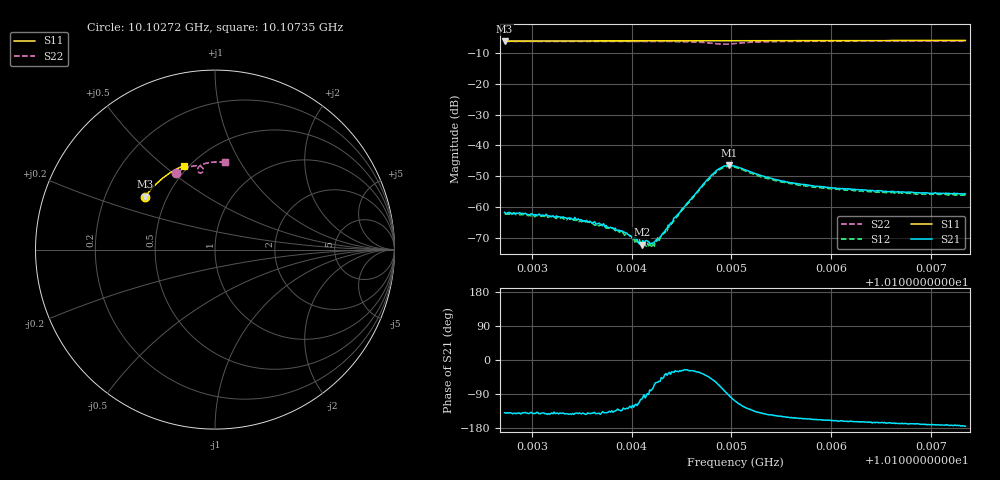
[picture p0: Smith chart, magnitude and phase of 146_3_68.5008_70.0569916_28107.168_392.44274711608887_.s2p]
#  HZ  S  RI  R  50.00
! Rohde & Schwarz Vector Network Analyzer
! Rohde-Schwarz,ZNB20-2Port,1311601062101988,3.16
! Created: UTC 3/20/2024, 5:10:14 PM
! freq[Hz]  re:S11  im:S11  re:S21  im:S21  re:S12  im:S12  re:S22  im:S22
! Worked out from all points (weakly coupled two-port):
!   401 points, 10.10272 GHz to 10.10735 GHz, reference 50 ohm
!   highest |S21| = -46.48 dB at 10.10498 GHz (marker M1); lowest = -72.1 dB at 10.1041 GHz (marker M2)
!   lowest |S11| = -6.2 dB at 10.10272 GHz (marker M3), VSWR 2.90, Z = 19 + j14.7 ohm
!   |S11| at or under -10 dB: nowhere
!   |S22| runs from -7.2 to -6.2 dB; largest |S21 - S12| = 0.00049
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1.0102725e10  -0.3875 0.2951  -0.000623 -0.000541  -0.000542 -0.000572  -0.216 0.4281
1.0103198e10  -0.3706 0.3183  -0.000533 -0.000455  -0.000501 -0.000486  -0.1879 0.4424
1.0103499e10  -0.359 0.3326  -0.000488 -0.000386  -0.000432 -0.000386  -0.1695 0.4504
1.0103695e10  -0.3512 0.3416  -0.000408 -0.000337  -0.000364 -0.000358  -0.1565 0.4554
1.0103753e10  -0.3488 0.3443  -0.000359 -0.000315  -0.000304 -0.000341  -0.1528 0.4569
1.0103903e10  -0.3427 0.3508  -0.000279 -0.000305  -0.000221 -0.000306  -0.1426 0.4602
1.0103996e10  -0.3389 0.3549  -0.000201 -0.000273  -0.000152 -0.000298  -0.1362 0.462
1.0104077e10  -0.3355 0.3584  -9.04e-05 -0.000235  -9.39e-05 -0.000286  -0.1304 0.4636
1.01041e10  -0.3344 0.3596  -5.98e-05 -0.000242  -5.9e-05 -0.000252  -0.1287 0.4642
1.0104134e10  -0.3329 0.361  -4.95e-05 -0.000278  -1.99e-05 -0.000243  -0.126 0.4646
1.0104204e10  -0.3301 0.3639  5.76e-05 -0.000255  8.42e-05 -0.000219  -0.1207 0.4659
1.0104273e10  -0.327 0.3669  0.000167 -0.000248  0.000179 -0.000221  -0.1151 0.4668
1.0104447e10  -0.3194 0.3741  0.000625 -0.000359  0.000607 -0.000288  -0.0998 0.4679
1.0104504e10  -0.3165 0.3767  0.000835 -0.000433  0.000836 -0.00032  -0.0941 0.4676
1.0104782e10  -0.304 0.3876  0.00209 -0.00219  0.0022 -0.00191  -0.0661 0.4491
1.0104886e10  -0.2992 0.3916  0.00151 -0.00399  0.00182 -0.00373  -0.07 0.4312
1.0104978e10  -0.2951 0.395  -0.00036 -0.00473  9.01e-05 -0.00456  -0.087 0.4282
1.0105036e10  -0.2925 0.3973  -0.00142 -0.00438  -0.000972 -0.00434  -0.0946 0.4352
1.010544e10  -0.2732 0.4123  -0.00234 -0.00154  -0.00211 -0.00167  -0.0738 0.4731
1.010581e10  -0.2548 0.425  -0.00204 -0.000879  -0.00185 -0.00102  -0.0454 0.4823
1.0106584e10  -0.2142 0.4487  -0.00174 -0.000442  -0.00163 -0.000563  0.00804 0.4883
1.0107347e10  -0.1724 0.4682  -0.00163 -0.000158  -0.00155 -0.000345  0.0581 0.4871
